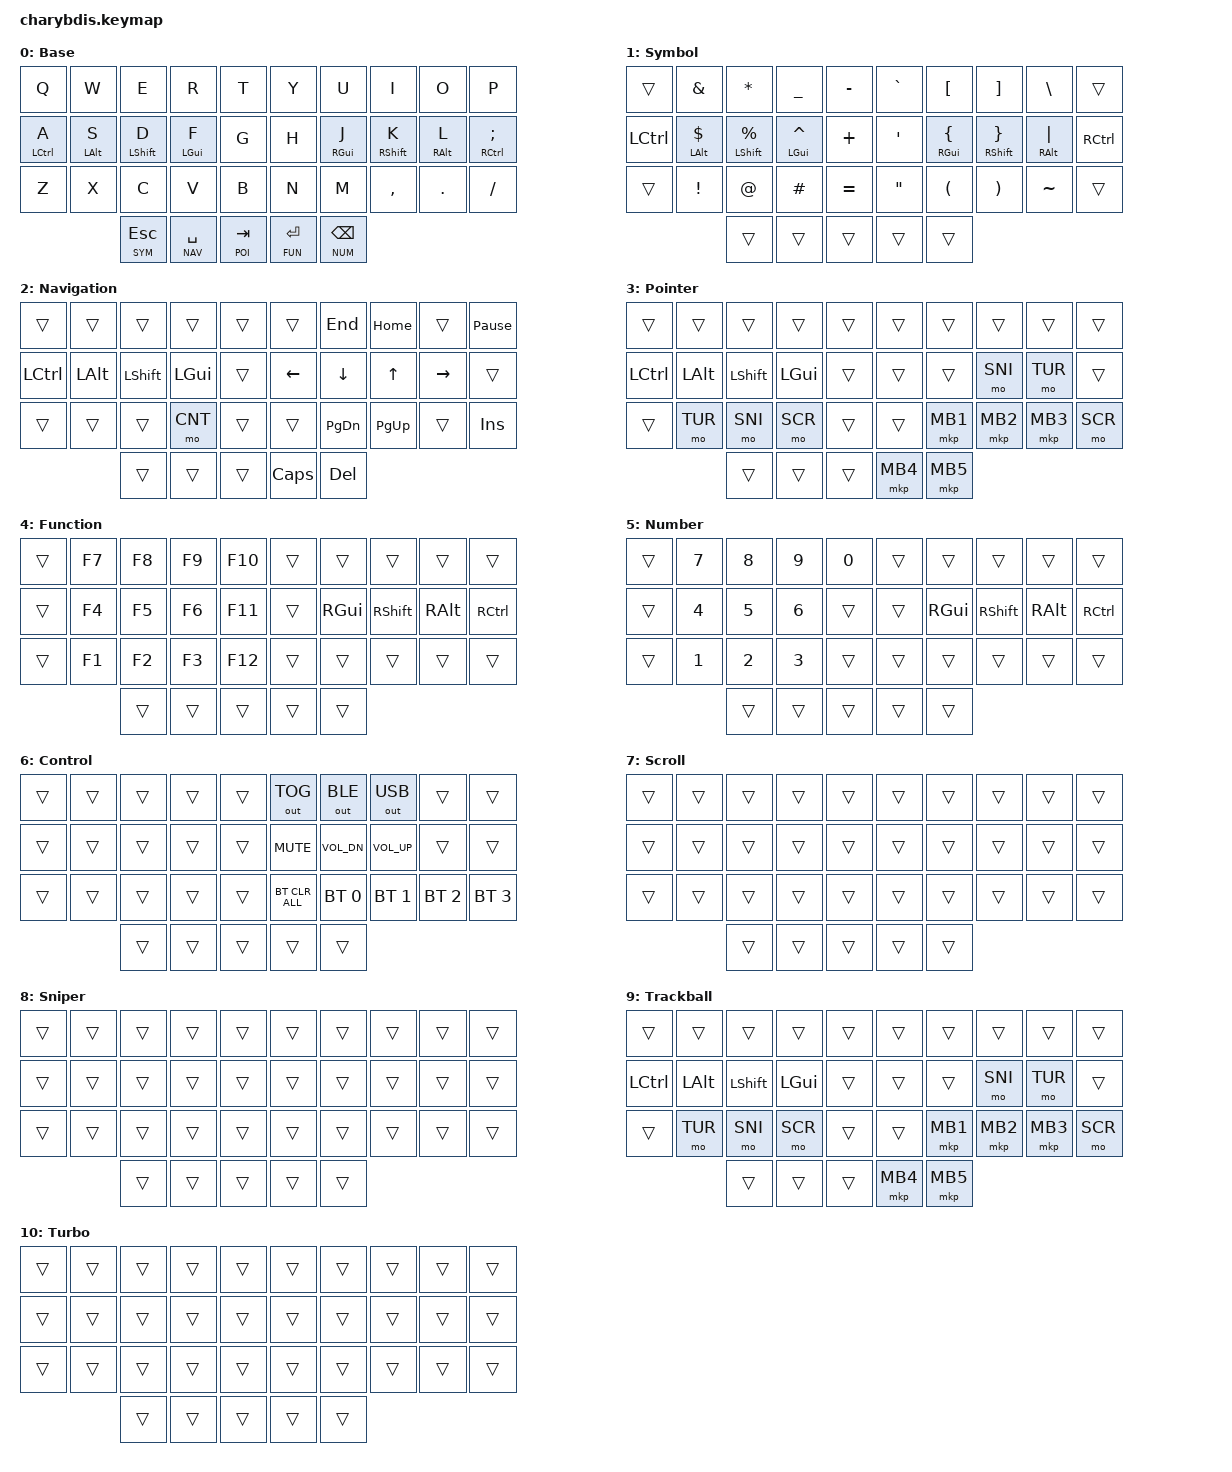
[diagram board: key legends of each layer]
#include <dt-bindings/zmk/mouse.h>
#include <behaviors/mouse_keys.dtsi>
#include <behaviors.dtsi>
#include <behaviors/bat_print.dtsi>
#include <dt-bindings/zmk/bt.h>
#include <dt-bindings/zmk/keys.h>
#include <dt-bindings/zmk/outputs.h>

#define COMBO_TIMEOUT 60

#define LEFT_KEYS    0 1 2 3 4   10 11 12 13 14   20 21 22 23 24
#define RIGHT_KEYS   5 6 7 8 9   15 16 17 18 19   25 26 27 28 29
#define LEFT_THUMBS  30 31 32
#define RIGHT_THUMBS 33 34

#define BASE  0
#define SYM   1
#define NAV   2
#define POI   3
#define FUN   4
#define NUM   5
#define CNT   6
#define SCR   7
#define SNI   8
#define TBALL 9
#define TUR   10

&sl {
    release-after-ms = <250>;
};

&mt {
    tapping-term-ms = <200>;
    require-prior-idle-ms = <150>;
};

/ {
    combos {
        compatible = "zmk,combos";

        combo_copy {
            timeout-ms = <COMBO_TIMEOUT>;
            key-positions = <21 22>;
            bindings = <&kp LG(C)>;
        };

        combo_paste {
            timeout-ms = <COMBO_TIMEOUT>;
            key-positions = <22 23>;
            bindings = <&kp LG(V)>;
        };

        combo_undo {
            timeout-ms = <COMBO_TIMEOUT>;
            bindings = <&kp LG(Z)>;
            key-positions = <20 21>;
        };

        combo_f18 {
            timeout-ms = <COMBO_TIMEOUT>;
            key-positions = <27 28>;
            bindings = <&kp F18>;
        };

        combo_poi_toggle {
            timeout-ms = <COMBO_TIMEOUT>;
            key-positions = <26 27>;
            bindings = <&tog POI>;
        };

        // T+Y 동시 → "L<좌> R<우>" 타이핑. base 레이어 한정 + 150ms idle 로 타이핑 중 오발 방지.
        combo_battery {
            timeout-ms = <50>;
            require-prior-idle-ms = <150>;
            key-positions = <4 5>;
            layers = <BASE>;
            bindings = <&bat_print>;
        };
    };
};

/ {
    behaviors {
        tll: thumb_layer_left {
            compatible = "zmk,behavior-hold-tap";
            flavor = "balanced";
            bindings = <&mo>, <&kp>;
            #binding-cells = <2>;
            tapping-term-ms = <160>;
            quick-tap-ms = <160>;
            require-prior-idle-ms = <100>;
            hold-trigger-key-positions = <LEFT_KEYS RIGHT_KEYS RIGHT_THUMBS>;
            hold-trigger-on-release;
        };
        tlr: thumb_layer_right {
            compatible = "zmk,behavior-hold-tap";
            flavor = "balanced";
            bindings = <&mo>, <&kp>;
            #binding-cells = <2>;
            tapping-term-ms = <160>;
            quick-tap-ms = <160>;
            require-prior-idle-ms = <100>;
            hold-trigger-key-positions = <LEFT_KEYS RIGHT_KEYS LEFT_THUMBS>;
            hold-trigger-on-release;
        };

        hml: homerow_mods_left {
            compatible = "zmk,behavior-hold-tap";
            flavor = "balanced";
            bindings = <&kp>, <&kp>;
            #binding-cells = <2>;
            tapping-term-ms = <120>;
            quick-tap-ms = <160>;
            require-prior-idle-ms = <100>;
            hold-trigger-key-positions = <RIGHT_KEYS LEFT_THUMBS RIGHT_THUMBS>;
            hold-trigger-on-release;
        };
        hmr: homerow_mods_right {
            compatible = "zmk,behavior-hold-tap";
            flavor = "balanced";
            bindings = <&kp>, <&kp>;
            #binding-cells = <2>;
            tapping-term-ms = <120>;
            quick-tap-ms = <160>;
            require-prior-idle-ms = <100>;
            hold-trigger-key-positions = <LEFT_KEYS LEFT_THUMBS RIGHT_THUMBS>;
            hold-trigger-on-release;
        };
    };

    keymap {
        compatible = "zmk,keymap";

        Base {
            label = "Base";
            bindings = <
              &kp Q         &kp W         &kp E          &kp R           &kp T            &kp Y         &kp U         &kp I         &kp O         &kp P
              &hml LCTRL A  &hml LALT S   &hml LSHFT D   &hml LGUI F     &kp G            &kp H         &hmr RGUI J   &hmr RSHFT K  &hmr RALT L   &hmr RCTRL SEMI
              &kp Z         &kp X         &kp C          &kp V           &kp B            &kp N         &kp M         &kp COMMA     &kp DOT       &kp FSLH
                                          &tll SYM ESC   &tll NAV SPACE  &tll POI TAB     &tlr FUN RET  &tlr NUM BSPC
            >;
        };

        Symbol {
            label = "Symbol";
            bindings = <
              &trans            &kp AMPS         &kp ASTRK         &kp UNDER        &kp MINUS            &kp GRAVE     &kp LBKT          &kp RBKT          &kp BSLH         &trans
              &kp LCTRL         &hml LALT DLLR   &hml LSHFT PRCNT  &hml LGUI CARET  &kp PLUS             &kp SQT       &hmr RGUI LBRC    &hmr RSHFT RBRC   &hmr RALT PIPE   &kp RCTRL
              &trans            &kp EXCL         &kp AT            &kp HASH         &kp EQUAL            &kp DQT       &kp LPAR          &kp RPAR          &kp TILDE        &trans
                                                 &trans            &trans           &trans               &trans        &trans
            >;
        };

        Navigation {
            label = "Navigation";
            bindings = <
              &trans        &trans        &trans         &trans          &trans           &trans        &kp END        &kp HOME      &trans        &kp PAUSE_BREAK
              &kp LCTRL     &kp LALT      &kp LSHFT      &kp LGUI        &trans           &kp LEFT      &kp DOWN       &kp UP        &kp RIGHT     &trans
              &trans        &trans        &trans         &mo CNT         &trans           &trans        &kp PAGE_DOWN  &kp PAGE_UP   &trans        &kp INS
                                          &trans         &trans          &trans           &kp CAPS      &kp DEL
            >;
        };

        Pointer {
            label = "Pointer";
            bindings = <
              &trans        &trans        &trans         &trans          &trans           &trans        &trans         &trans        &trans        &trans
              &kp LCTRL     &kp LALT      &kp LSHFT      &kp LGUI        &trans           &trans        &trans         &mo  SNI      &mo TUR       &trans
              &trans        &mo TUR       &mo SNI        &mo SCR         &trans           &trans        &mkp MB1       &mkp MB2      &mkp MB3      &mo SCR
                                          &trans         &trans          &trans           &mkp MB4      &mkp MB5
            >;
        };

        Function {
            label = "Function";
            bindings = <
              &trans        &kp F7        &kp F8         &kp F9          &kp F10          &trans        &trans         &trans        &trans        &trans
              &trans        &kp F4        &kp F5         &kp F6          &kp F11          &trans        &kp RGUI       &kp RSHFT     &kp RALT      &kp RCTRL
              &trans        &kp F1        &kp F2         &kp F3          &kp F12          &trans        &trans         &trans        &trans        &trans
                                          &trans         &trans          &trans           &trans        &trans
            >;
        };

        Number {
            label = "Number";
            bindings = <
              &trans        &kp N7        &kp N8         &kp N9          &kp N0           &trans        &trans         &trans        &trans        &trans
              &trans        &kp N4        &kp N5         &kp N6          &trans           &trans        &kp RGUI       &kp RSHFT     &kp RALT      &kp RCTRL
              &trans        &kp N1        &kp N2         &kp N3          &trans           &trans        &trans         &trans        &trans        &trans
                                          &trans         &trans          &trans           &trans        &trans
            >;
        };

        Control {
            label = "Control";
            bindings = <
              &trans        &trans        &trans         &trans          &trans           &out OUT_TOG    &out OUT_BLE   &out OUT_USB   &trans        &trans
              &trans        &trans        &trans         &trans          &trans           &kp C_MUTE      &kp C_VOL_DN   &kp C_VOL_UP   &trans        &trans
              &trans        &trans        &trans         &trans          &trans           &bt BT_CLR_ALL  &bt BT_SEL 0   &bt BT_SEL 1   &bt BT_SEL 2  &bt BT_SEL 3
                                          &trans         &trans          &trans           &trans          &trans
            >;
        };

        Scroll {
            label = "Scroll";
            bindings = <
              &trans        &trans        &trans         &trans          &trans           &trans        &trans         &trans        &trans        &trans
              &trans        &trans        &trans         &trans          &trans           &trans        &trans         &trans        &trans        &trans
              &trans        &trans        &trans         &trans          &trans           &trans        &trans         &trans        &trans        &trans
                                          &trans         &trans          &trans           &trans        &trans
            >;
        };

        Sniper {
            label = "Sniper";
            bindings = <
              &trans        &trans        &trans         &trans          &trans           &trans        &trans         &trans        &trans        &trans
              &trans        &trans        &trans         &trans          &trans           &trans        &trans         &trans        &trans        &trans
              &trans        &trans        &trans         &trans          &trans           &trans        &trans         &trans        &trans        &trans
                                          &trans         &trans          &trans           &trans        &trans
            >;
        };

        // 트랙볼 움직임으로만 자동 활성화되는 레이어 (Pointer와 동일 바인딩)
        // POI(3)와 분리해야 ZMK layer state 비트마스크 충돌 방지 — 엄지 POI hold 중 트랙볼 움직여도 layer drop 안 됨
        Trackball {
            label = "Trackball";
            bindings = <
              &trans        &trans        &trans         &trans          &trans           &trans        &trans         &trans        &trans        &trans
              &kp LCTRL     &kp LALT      &kp LSHFT      &kp LGUI        &trans           &trans        &trans         &mo  SNI      &mo TUR       &trans
              &trans        &mo TUR       &mo SNI        &mo SCR         &trans           &trans        &mkp MB1       &mkp MB2      &mkp MB3      &mo SCR
                                          &trans         &trans          &trans           &mkp MB4      &mkp MB5
            >;
        };

        Turbo {
            label = "Turbo";
            bindings = <
              &trans        &trans        &trans         &trans          &trans           &trans        &trans         &trans        &trans        &trans
              &trans        &trans        &trans         &trans          &trans           &trans        &trans         &trans        &trans        &trans
              &trans        &trans        &trans         &trans          &trans           &trans        &trans         &trans        &trans        &trans
                                          &trans         &trans          &trans           &trans        &trans
            >;
        };
    };
};
